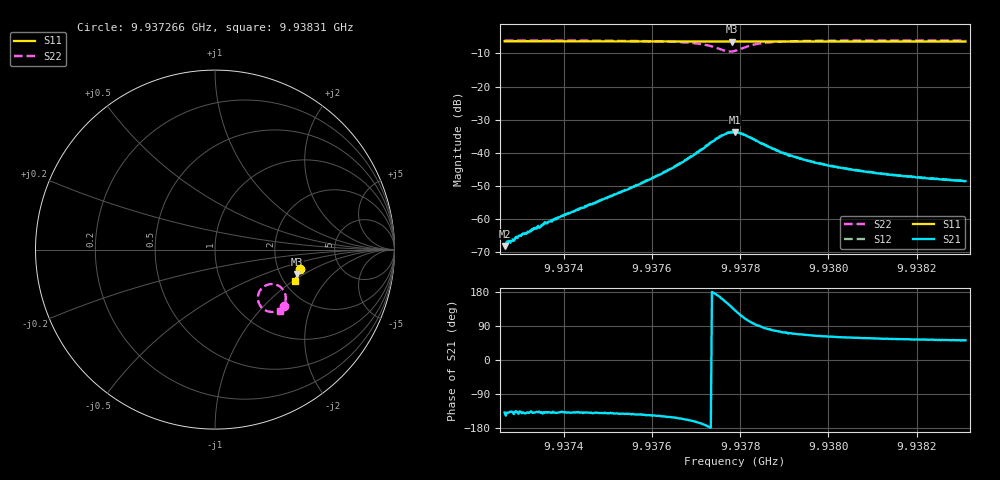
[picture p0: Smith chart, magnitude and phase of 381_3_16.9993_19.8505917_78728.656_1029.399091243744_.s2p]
#  HZ  S  RI  R  50.00
! Rohde & Schwarz Vector Network Analyzer
! Rohde-Schwarz,ZNB20-2Port,1311601062101988,3.16
! Created: UTC 3/20/2024, 11:09:09 PM
! freq[Hz]  re:S11  im:S11  re:S21  im:S21  re:S12  im:S12  re:S22  im:S22
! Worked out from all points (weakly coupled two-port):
!   401 points, 9.937266 GHz to 9.93831 GHz, reference 50 ohm
!   highest |S21| = -33.78 dB at 9.937788 GHz (marker M1); lowest = -68.3 dB at 9.937266 GHz (marker M2)
!   lowest |S11| = -6.4 dB at 9.937781 GHz (marker M3), VSWR 2.84, Z = 123 - j44.4 ohm
!   |S11| at or under -10 dB: nowhere
!   |S22| runs from -9.4 to -6.1 dB; largest |S21 - S12| = 0.00088
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9.9372663e9  0.472 -0.1061  -0.000288 -0.000255  -0.000296 -0.000243  0.386 -0.3145
9.9372768e9  0.4718 -0.1067  -0.000343 -0.000309  -0.000365 -0.000291  0.3854 -0.3153
9.9372846e9  0.4714 -0.1072  -0.000346 -0.00032  -0.000353 -0.000292  0.3848 -0.3157
9.9373029e9  0.4713 -0.1086  -0.000401 -0.000376  -0.000408 -0.000373  0.3834 -0.3169
9.9373316e9  0.4706 -0.1104  -0.000518 -0.000447  -0.000535 -0.000468  0.3813 -0.3193
9.9373916e9  0.4693 -0.1144  -0.000785 -0.000701  -0.000803 -0.000705  0.3761 -0.3237
9.9374412e9  0.4682 -0.1178  -0.00108 -0.000958  -0.00112 -0.000939  0.3711 -0.3277
9.9375483e9  0.4659 -0.125  -0.00222 -0.00173  -0.00234 -0.00173  0.3558 -0.3373
9.9376161e9  0.4641 -0.1295  -0.00386 -0.00249  -0.00394 -0.00241  0.3388 -0.3441
9.9376657e9  0.4629 -0.1328  -0.00624 -0.00298  -0.00641 -0.00292  0.3169 -0.3473
9.9377205e9  0.4608 -0.1365  -0.0119 -0.00165  -0.0122 -0.00155  0.2705 -0.3322
9.9377414e9  0.4598 -0.1375  -0.0151 0.00101  -0.0155 0.0013  0.2481 -0.3061
9.9377597e9  0.459 -0.1383  -0.0172 0.00598  -0.0175 0.00654  0.2389 -0.2656
9.9377806e9  0.4586 -0.1386  -0.0154 0.0131  -0.0153 0.0138  0.2638 -0.2123
9.9377884e9  0.4586 -0.1389  -0.0134 0.0155  -0.013 0.016  0.2831 -0.1993
9.9378145e9  0.459 -0.1402  -0.00519 0.0172  -0.00471 0.0175  0.3482 -0.1987
9.9378458e9  0.459 -0.1425  0.000311 0.014  0.000846 0.0141  0.3851 -0.2328
9.9379059e9  0.4578 -0.1468  0.00282 0.00893  0.0031 0.00909  0.3941 -0.2787
9.9379633e9  0.4565 -0.1509  0.00312 0.00651  0.00325 0.00655  0.3889 -0.3002
9.9380312e9  0.4549 -0.1554  0.00291 0.00505  0.00304 0.00504  0.382 -0.3146
9.9381382e9  0.4519 -0.1623  0.00258 0.00381  0.00269 0.00382  0.3725 -0.3284
9.9383105e9  0.4471 -0.1733  0.00228 0.00292  0.00234 0.00294  0.3598 -0.3427
